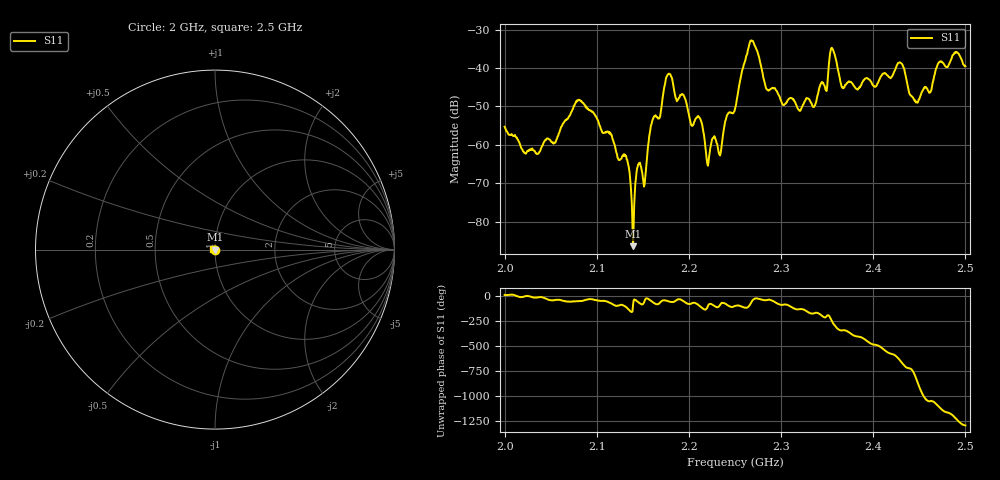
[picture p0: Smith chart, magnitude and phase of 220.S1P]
! C:\Users\rflab\Downloads\dp2_kdzw\220.S1P
! Touchstone 1.1 file saved by VNA.EXE V1.65 (www.ke5fx.com/gpib/readme.htm)
! 12/12/2024 7:05:40 PM
!  Source: HEWLETT PACKARD,8753D,0,6.14
!  Min freq: 2.000000E+009 Hz
!  Max freq: 2.500000E+009 Hz
!  Points: 801
!  Params: S21
# GHZ S MA R 50
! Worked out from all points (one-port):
!   801 points, 2 GHz to 2.5 GHz, reference 50 ohm
!   lowest |S11| = -86.4 dB at 2.139 GHz (marker M1), VSWR 1.00, Z = 50 - j0.0048 ohm
!   |S11| at or under -10 dB: start of sweep to end of sweep
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2  0.00172 8.4
2.035625  0.000762 -17.3
2.0625  0.001787 -48.0
2.0825  0.003691 -53.1
2.125  0.000635 -93.6
2.1325  0.000645 -117.0
2.139375  4.8e-05 -90.2
2.144375  0.000519 -57.7
2.151875  0.000303 -51.4
2.159375  0.001843 -54.2
2.17625  0.007856 -50.1
2.1875  0.00377 -38.0
2.211875  0.002197 -103.8
2.220625  0.000535 -101.7
2.25  0.002928 -101.4
2.268125  0.02278 -58.6
2.285  0.005237 -41.1
2.3125  0.003995 -118.7
2.33625  0.00318 -173.4
2.34875  0.005145 150.3
2.355625  0.01789 98.1
2.36625  0.005574 13.2
2.375  0.006545 -13.6
2.42875  0.01184 78.1
2.4375  0.00565 -0.9
2.4475  0.003568 -131.0
2.471875  0.01205 -35.0
2.5  0.01055 144.7
